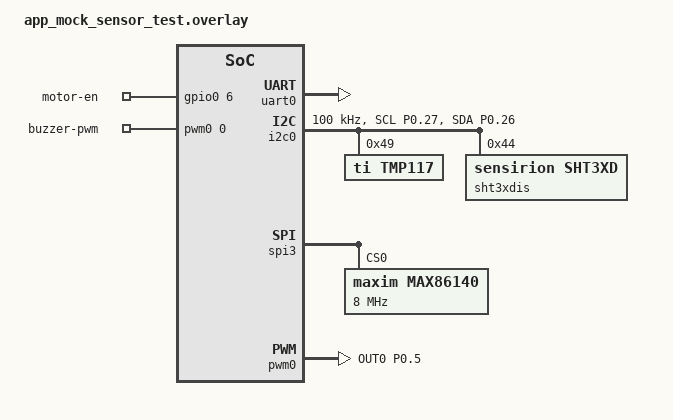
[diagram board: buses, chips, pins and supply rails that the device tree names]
/*
 * Mock sensor shell test (full app: main.c + test.c + drivers).
 *
 * - Shell / printk on UART0 (DK USB serial).
 * - Minimal haptics: pwm0 → P0.05 (buzzer alias), GPIO P0.06 (motor-en alias).
 * - Stub sensor nodes so drivers compile: TMP117 + SHT3x on I2C0 (DK Arduino P0.26/27),
 *   MAX86140 on SPI3 (same as app_max86140_hr.overlay).
 *
 *   west build ... -DDTC_OVERLAY_FILE=app_mock_sensor_test.overlay
 */

#include <zephyr/dt-bindings/gpio/gpio.h>
#include <zephyr/dt-bindings/pinctrl/nrf-pinctrl.h>
#include <zephyr/dt-bindings/pwm/pwm.h>

/ {
	chosen {
		zephyr,console = &uart0;
		zephyr,shell-uart = &uart0;
	};

	aliases {
		buzzer = &pwm_buzzer_led;
		motor-en = &vibration_gpio_line;
	};

	motor_gpios {
		compatible = "gpio-leds";
		vibration_gpio_line: vibration_gpio_line {
			gpios = <&gpio0 6 GPIO_ACTIVE_HIGH>;
			label = "motor-en";
		};
	};

	pwm_buzzer_group {
		compatible = "pwm-leds";
		pwm_buzzer_led: pwm_buzzer_led {
			pwms = <&pwm0 0 PWM_MSEC(20) PWM_POLARITY_NORMAL>;
			label = "buzzer-pwm";
		};
	};

	pwmleds {
		status = "disabled";
	};
};

&uart0 {
	status = "okay";
};

&adc {
	status = "disabled";
};

&i2c1 {
	status = "disabled";
};

&spi0 {
	status = "disabled";
};

&spi1 {
	status = "disabled";
};

&spi2 {
	status = "disabled";
};

&pinctrl {
	i2c0_mock: i2c0_mock {
		group1 {
			psels = <NRF_PSEL(TWIM_SCL, 0, 27)>,
				<NRF_PSEL(TWIM_SDA, 0, 26)>;
			bias-pull-up;
		};
	};

	i2c0_mock_sleep: i2c0_mock_sleep {
		group1 {
			psels = <NRF_PSEL(TWIM_SCL, 0, 27)>,
				<NRF_PSEL(TWIM_SDA, 0, 26)>;
			low-power-enable;
		};
	};

	pwm0_mock_test: pwm0_mock_test {
		group1 {
			psels = <NRF_PSEL(PWM_OUT0, 0, 5)>;
			nordic,drive-mode = <NRF_DRIVE_H0H1>;
		};
	};

	pwm0_mock_test_sleep: pwm0_mock_test_sleep {
		group1 {
			psels = <NRF_PSEL(PWM_OUT0, 0, 5)>;
			low-power-enable;
		};
	};
};

&i2c0 {
	status = "okay";
	compatible = "nordic,nrf-twim";
	pinctrl-0 = <&i2c0_mock>;
	pinctrl-1 = <&i2c0_mock_sleep>;
	pinctrl-names = "default", "sleep";
	clock-frequency = <100000>;

	tmp117: tmp117@49 {
		compatible = "ti,tmp117";
		reg = <0x49>;
	};

	sht3xdis: sht3xdis@44 {
		compatible = "sensirion,sht3xd";
		reg = <0x44>;
	};
};

&spi3 {
	max86140: maxim_max86140@0 {
		compatible = "maxim,max86140";
		reg = <0>;
		spi-max-frequency = <8000000>;
	};
};

&pwm0 {
	status = "okay";
	pinctrl-0 = <&pwm0_mock_test>;
	pinctrl-1 = <&pwm0_mock_test_sleep>;
	pinctrl-names = "default", "sleep";
};
